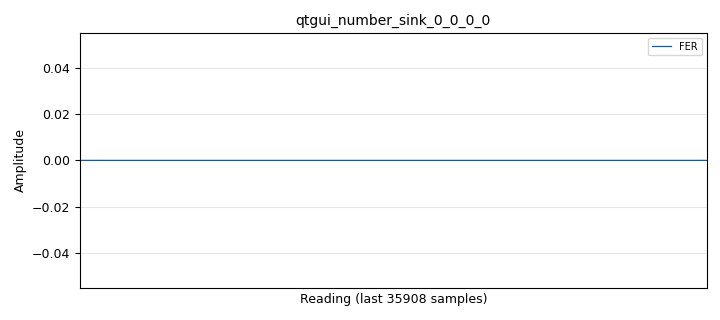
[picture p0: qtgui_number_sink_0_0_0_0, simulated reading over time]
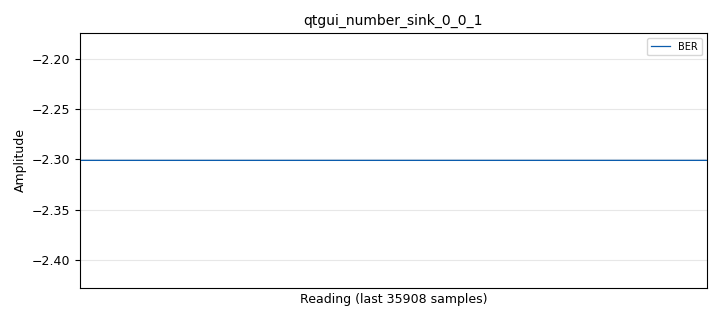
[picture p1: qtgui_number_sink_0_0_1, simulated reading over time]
options:
  parameters:
    generate_options: qt_gui
    id: variant_b_error_rate
    output_language: python
    title: Variant B Error Rate
  states: {}

blocks:
- name: modulation
  id: variable_constellation
  parameters:
    precision: '8'
    type: bpsk
  states: {state: disabled}
- name: modulation
  id: variable_constellation
  parameters:
    precision: '8'
    type: 16qam
  states: {}
- name: reset_button
  id: variable_qtgui_push_button
  parameters:
    label: Reset Button
    pressed: 'True'
    released: 'False'
    type: bool
    value: 'False'
  states: {}
- name: samp_rate
  id: variable
  parameters:
    value: '320000'
  states: {}
- name: test_case
  id: variable_qtgui_chooser
  parameters:
    label: Test Cases BPSK
    label0: 'Test 1: BER_log = SER_log = -2.9 ; FER_log = 0'
    label1: 'Test 2: BER_log = SER_log = -3.9 ; FER_log = -1'
    num_opts: '2'
    option0: '[0]*0+[0]*99+[1]*1'
    option1: '[0]*1000+[0]*99+[1]*1'
    type: raw
    value: '[0]*0+[0]*99+[1]*1'
    widget: radio_buttons
  states: {state: disabled}
- name: test_case
  id: variable_qtgui_chooser
  parameters:
    label: Test Cases 16 QAM
    label0: 'Test 1: BER_log = -2.9 ; SER_log = -2.3 ; FER_log = 0'
    label1: 'Test 2: BER_log = -3.94 ; SER_log = -3.34 ; FER_log = -1'
    num_opts: '2'
    option0: '[0]*0+[0]*99+[1]*1'
    option1: '[0]*1000+[0]*99+[1]*1'
    type: raw
    value: '[0]*0+[0]*99+[1]*1'
    widget: radio_buttons
  states: {}
- name: blocks_stream_to_tagged_stream_0_0
  id: blocks_stream_to_tagged_stream
  parameters:
    len_tag_key: '"packet_len"'
    packet_len: '100'
    type: byte
  states: {}
- name: blocks_throttle2_0
  id: blocks_throttle2
  parameters:
    samples_per_second: samp_rate
    type: byte
  states: {}
- name: blocks_vector_source_x_0
  id: blocks_vector_source_x
  parameters:
    comment: TX Data
    repeat: 'True'
    type: byte
    vector: '[0]*100'
  states: {}
- name: blocks_vector_source_x_0_0
  id: blocks_vector_source_x
  parameters:
    comment: Error Inducement Control
    repeat: 'True'
    type: byte
    vector: test_case
  states: {}
- name: blocks_xor_xx_1
  id: blocks_xor_xx
  parameters:
    type: byte
  states: {}
- name: epy_block_0
  id: epy_block
  parameters:
    _source_code: |-
      import numpy as np
      from gnuradio import gr

      class blk(gr.basic_block):
          def __init__(self, frame_size=100, bits_per_symbol=4):
              gr.basic_block.__init__(
                  self,
                  name='Error Rate Counter',
                  in_sig=[np.uint8, np.uint8], # in0: Truth (čisté), in1: Received (šum)
                  out_sig=[np.float32, np.float32, np.float32] # SER, BER, FER
              )
              self.frame_size = frame_size
              self.bits_per_symbol = bits_per_symbol
              self.total_bits = 0
              self.bit_errors = 0
              self.total_symbols = 0
              self.symbol_errors = 0
              self.total_frames = 0
              self.frame_errors = 0

          def general_work(self, input_items, output_items):
              # V tomto zapojení sú oba vstupy bajty (0-255)
              in_truth = input_items[0]
              in_noisy = input_items[1]
              
              n_input = min(len(in_truth), len(in_noisy))
              n_frames = n_input // self.frame_size
              
              if n_frames == 0:
                  return 0

              # Spracujeme dáta po celých rámcoch
              data_len = n_frames * self.frame_size
              t = in_truth[:data_len]
              r = in_noisy[:data_len]

              # 1. BER (Bit Error Rate) - rozbalíme bajty na bity a porovnáme
              t_bits = np.unpackbits(t)
              r_bits = np.unpackbits(r)
              self.bit_errors += np.sum(t_bits != r_bits)
              self.total_bits += len(t_bits)

              # 2. SER (Symbol Error Rate) - pre 16-QAM (4 bity na symbol)
              # Každý bajt má 2 symboly (horný a dolný nibble)
              t_high, t_low = (t >> 4) & 0x0F, t & 0x0F
              r_high, r_low = (r >> 4) & 0x0F, r & 0x0F
              self.symbol_errors += np.sum(t_high != r_high) + np.sum(t_low != r_low)
              self.total_symbols += len(t) * 2

              # 3. FER (Frame Error Rate)
              t_frames = t.reshape(-1, self.frame_size)
              r_frames = r.reshape(-1, self.frame_size)
              # Rámec je chybný, ak sa v ňom líši aspoň jeden bajt
              self.frame_errors += np.sum(np.any(t_frames != r_frames, axis=1))
              self.total_frames += n_frames

              # Výpočet logaritmov pre GUI (Number Sink)
              # Ak je chyba 0, vrátime -10.0 (predstavuje log10 od veľmi malého čísla)
              ser = self.symbol_errors / self.total_symbols if self.total_symbols > 0 else 1e-10
              ber = self.bit_errors / self.total_bits if self.total_bits > 0 else 1e-10
              fer = self.frame_errors / self.total_frames if self.total_frames > 0 else 1e-10

              output_items[0][:] = np.log10(ser) if ser > 0 else -10.0
              output_items[1][:] = np.log10(ber) if ber > 0 else -10.0
              output_items[2][:] = np.log10(fer) if fer > 0 else -10.0

              self.consume(0, data_len)
              self.consume(1, data_len)
              return len(output_items[0])
    bits_per_symbol: '4'
    frame_size: '100'
  states: {}
- name: qtgui_number_sink_0_0_0_0
  id: qtgui_number_sink
  parameters:
    graph_type: qtgui.NUM_GRAPH_NONE
    label1: FER
    name: ''
    type: float
  states: {}
- name: qtgui_number_sink_0_0_1
  id: qtgui_number_sink
  parameters:
    graph_type: qtgui.NUM_GRAPH_NONE
    label1: BER
    name: ''
    type: float
  states: {}
- name: qtgui_number_sink_3_0
  id: qtgui_number_sink
  parameters:
    graph_type: qtgui.NUM_GRAPH_NONE
    label1: SER
    type: float
  states: {}
- name: virtual_sink_0
  id: virtual_sink
  parameters:
    stream_id: TX Data
  states: {}
- name: virtual_source_0
  id: virtual_source
  parameters:
    stream_id: TX Data
  states: {}

connections:
- [blocks_stream_to_tagged_stream_0_0, '0', epy_block_0, '1']
- [blocks_throttle2_0, '0', blocks_stream_to_tagged_stream_0_0, '0']
- [blocks_vector_source_x_0, '0', blocks_xor_xx_1, '0']
- [blocks_vector_source_x_0, '0', virtual_sink_0, '0']
- [blocks_vector_source_x_0_0, '0', blocks_xor_xx_1, '1']
- [blocks_xor_xx_1, '0', blocks_throttle2_0, '0']
- [epy_block_0, '0', qtgui_number_sink_0_0_1, '0']
- [epy_block_0, '1', qtgui_number_sink_3_0, '0']
- [epy_block_0, '2', qtgui_number_sink_0_0_0_0, '0']
- [virtual_source_0, '0', epy_block_0, '0']

metadata:
  file_format: 1
  grc_version: 3.10.12.0
